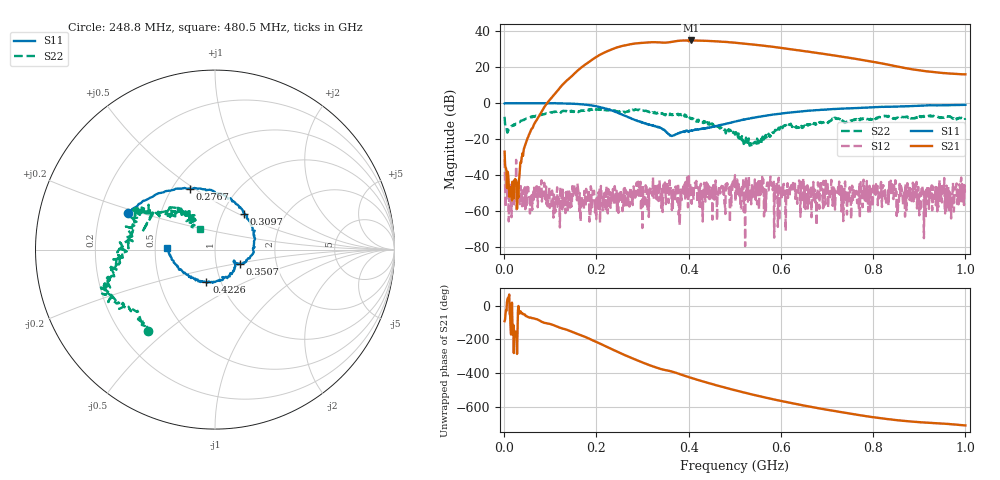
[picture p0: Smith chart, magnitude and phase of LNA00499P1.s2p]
! Created with skrf 1.9.0 (http://scikit-rf.org).
# Hz S RI R 50.0
!freq ReS11 ImS11 ReS21 ImS21 ReS12 ImS12 ReS22 ImS22
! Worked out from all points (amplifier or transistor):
!   1001 points, 1 MHz to 1 GHz, reference 50 ohm
!   highest |S21| = 35.0 dB at 404.6 MHz (marker M1)
!   |S21| within 3 dB of that: 257.1 MHz to 565.5 MHz (308.4 MHz wide, 75 % of centre)
!   unconditionally stable (mu >= 1): 221.9 MHz to 290.6 MHz; 290.8 MHz to 322.7 MHz; 322.7 MHz to end of sweep (the widest 3 of 42)
!   at 166.8 MHz: K = 1.32, MAG = 33.0 dB, |S12| = -53.0 dB
!   at 500.5 MHz: K = 1.16, MAG = 34.5 dB, |S12| = -40.1 dB
!   at 1 GHz: K = 3.81, MAG = 23.7 dB, |S12| = -48.7 dB
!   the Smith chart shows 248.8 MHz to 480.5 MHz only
!   S11 on the Smith chart (normalised r, x): 248.8 MHz: 0.32, +0.18; 276.7 MHz: 0.61, +0.48; 309.7 MHz: 1.25, +0.54; 350.6 MHz: 1.30, -0.21; 422.6 MHz: 0.85, -0.32; 480.5 MHz: 0.58, +0.01
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1000000  0.9828 0.0164  -0.00202 -0.0445  -0.0274 -0.000303  0.3238 0.2642
1.08892e8  0.5263 -0.8451  -0.8329 -1.543  -0.000823 -7.5e-05  0.4152 -0.3779
1.67833e8  -0.227 -0.9018  -10.02 -0.4358  -0.00136 0.000882  0.00538 -0.6305
2.11789e8  -0.6757 -0.3515  -15.11 18.43  0.00157 0.00118  -0.238 -0.6171
2.29771e8  -0.6468 -0.0512  -8.379 29.17  0.000677 -0.00326  -0.2974 -0.578
2.48752e8  -0.4824 0.2045  5.283 36.74  -0.00345 -0.000509  -0.3711 -0.4559
2.76724e8  -0.1409 0.3402  29.82 32.99  -0.0015 -0.000763  -0.5536 -0.2825
3.09691e8  0.1608 0.2011  48.4 10.01  0.00222 -0.000452  -0.5769 -0.1469
3.34666e8  0.2114 0.00558  48.61 -10.78  -0.000515 -0.0018  -0.5453 -0.0156
3.5065e8  0.1386 -0.0794  44.5 -19.85  -0.000338 0.0015  -0.49 0.0676
3.73627e8  0.1123 -0.0807  41.38 -35.22  0.00221 0.0022  -0.4426 0.2107
4.04596e8  0.0311 -0.1702  20.26 -52.33  0.00463 0.00344  -0.3099 0.192
4.22578e8  -0.0475 -0.182  6.128 -55.16  -0.00181 0.00274  -0.2128 0.2324
4.49551e8  -0.1744 -0.1303  -14.07 -52.03  0.00119 0.00264  -0.1609 0.1898
4.8052e8  -0.2671 0.00628  -31.57 -40.27  0.00551 -0.00112  -0.0851 0.1158
5.005e8  -0.2832 0.1203  -38.8 -29.47  0.00973 -0.00189  -0.0992 0.0889
5.39461e8  -0.2254 0.3219  -42.53 -8.092  0.00454 0.000424  -0.0828 0.00603
5.86414e8  -0.0404 0.4853  -34.94 11.6  0.0029 -0.00358  -0.1534 -0.0684
6.67333e8  0.3369 0.5296  -12.06 23.36  0.00137 -0.003  -0.2667 -0.0368
7.53247e8  0.6276 0.361  4.079 17.42  0.00133 -0.00133  -0.3255 0.0624
8.34166e8  0.7832 0.1372  8.308 8.305  -0.00282 -0.00175  -0.4064 0.1377
1e9  0.808 -0.3972  6.317 0.8953  -0.00228 -0.00287  -0.0924 0.3643
